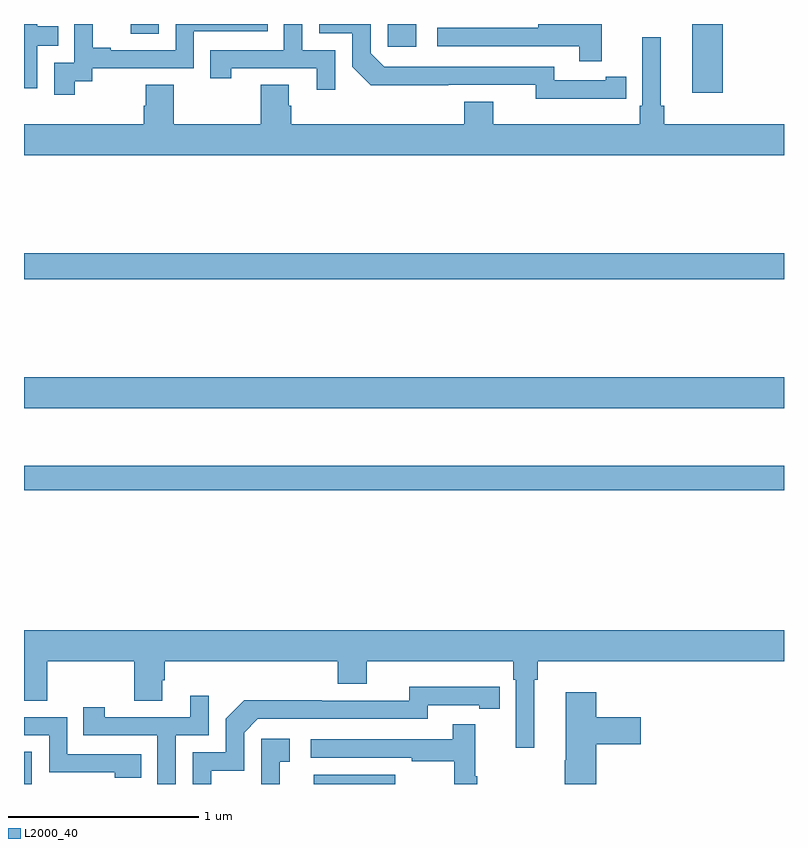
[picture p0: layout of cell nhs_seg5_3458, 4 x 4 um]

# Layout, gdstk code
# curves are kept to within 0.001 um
import gdstk
lib = gdstk.Library(unit=1e-6, precision=1e-09)
def R(c, l, rs):  # rectangles x0, y0, x1, y1
    for r in rs: c.add(gdstk.rectangle(r[:2], r[2:], *l))
def P(c, l, *ps):  # polygons
    for p in ps: c.add(gdstk.Polygon(p, *l))
L2000_40 = (2000, 40)

nhs_seg5_3458 = lib.new_cell('nhs_seg5_3458')
R(nhs_seg5_3458, L2000_40, [(315,838.799,315.042,838.969), (316.526,838.799,316.954,838.849), (315,840.346,319,840.475), (315,840.776,319,840.94), (315,841.456,319,841.592), (318.518,842.436,318.677,842.799), (316.914,842.679,317.065,842.799), (315.561,842.748,315.708,842.799)])
P(nhs_seg5_3458, L2000_40, [(318.041,842.799),(317.931,842.799),(317.931,842.798),(317.707,842.798),(317.707,842.778),(317.175,842.778),(317.175,842.682),(317.923,842.682),(317.923,842.604),(318.041,842.604)],
  [(316.638,842.661),(316.464,842.661),(316.464,842.799),(316.368,842.799),(316.368,842.661),(315.979,842.661),(315.979,842.514),(316.09,842.514),(316.09,842.565),(316.541,842.565),(316.541,842.454),(316.638,842.454)],
  [(318.062,842.406),(318.17,842.406),(318.17,842.522),(318.062,842.522),(318.062,842.502),(317.79,842.502),(317.79,842.574),(316.896,842.574),(316.824,842.646),(316.824,842.799),(316.554,842.799),(316.554,842.751),(316.728,842.751),(316.728,842.574),(316.826,842.477),(317.694,842.478),(317.694,842.405)],
  [(315.069,842.685),(315.179,842.685),(315.179,842.786),(315.069,842.786),(315.069,842.799),(315,842.799),(315,842.46),(315.069,842.46)],
  [(315.268,842.497),(315.36,842.497),(315.36,842.565),(315.894,842.565),(315.894,842.76),(316.283,842.76),(316.283,842.799),(315.798,842.799),(315.798,842.661),(315.457,842.661),(315.457,842.674),(315.362,842.674),(315.362,842.799),(315.264,842.799),(315.264,842.595),(315.159,842.595),(315.159,842.427),(315.268,842.427)],
  [(319,842.272),(318.371,842.272),(318.371,842.368),(318.352,842.368),(318.352,842.728),(318.255,842.728),(318.255,842.368),(318.242,842.368),(318.242,842.272),(317.47,842.272),(317.47,842.389),(317.318,842.389),(317.318,842.272),(316.406,842.272),(316.406,842.37),(316.393,842.37),(316.393,842.48),(316.246,842.48),(316.246,842.272),(315.789,842.272),(315.789,842.48),(315.641,842.48),(315.641,842.37),(315.629,842.37),(315.629,842.272),(315,842.272),(315,842.108),(319,842.108)],
  [(317.686,839.348),(317.705,839.348),(317.705,839.444),(319,839.444),(319,839.608),(315,839.608),(315,839.236),(315.123,839.236),(315.123,839.444),(315.58,839.444),(315.58,839.236),(315.727,839.236),(315.727,839.346),(315.74,839.346),(315.74,839.444),(316.652,839.444),(316.652,839.327),(316.804,839.327),(316.804,839.444),(317.576,839.444),(317.576,839.348),(317.589,839.348),(317.589,838.989),(317.686,838.989)],
  [(315.985,838.869),(316.158,838.869),(316.158,839.07),(316.23,839.142),(317.124,839.142),(317.124,839.214),(317.396,839.214),(317.396,839.194),(317.504,839.194),(317.504,839.31),(317.028,839.311),(317.028,839.238),(316.568,839.238),(316.568,839.24),(316.16,839.24),(316.062,839.142),(316.062,838.965),(315.888,838.965),(315.888,838.799),(315.985,838.799)],
  [(318.011,839.009),(318.247,839.009),(318.247,839.151),(318.011,839.151),(318.011,839.281),(317.852,839.281),(317.852,838.925),(317.845,838.925),(317.845,838.799),(318.011,838.799)],
  [(315.798,839.055),(315.972,839.055),(315.972,839.263),(315.875,839.263),(315.875,839.151),(315.424,839.151),(315.424,839.203),(315.313,839.203),(315.313,839.055),(315.702,839.055),(315.702,838.799),(315.798,838.799)],
  [(315.617,838.956),(315.228,838.956),(315.228,839.151),(315,839.151),(315,839.055),(315.132,839.055),(315.132,838.86),(315.477,838.86),(315.477,838.833),(315.617,838.833)],
  [(317.386,838.841),(317.375,838.841),(317.375,839.113),(317.257,839.113),(317.257,839.034),(316.509,839.034),(316.509,838.938),(317.041,838.938),(317.041,838.918),(317.265,838.918),(317.265,838.799),(317.386,838.799)],
  [(316.346,838.917),(316.399,838.917),(316.399,839.038),(316.248,839.038),(316.248,838.799),(316.346,838.799)])

lib.write_gds('nhs_seg5_3458.gds')
